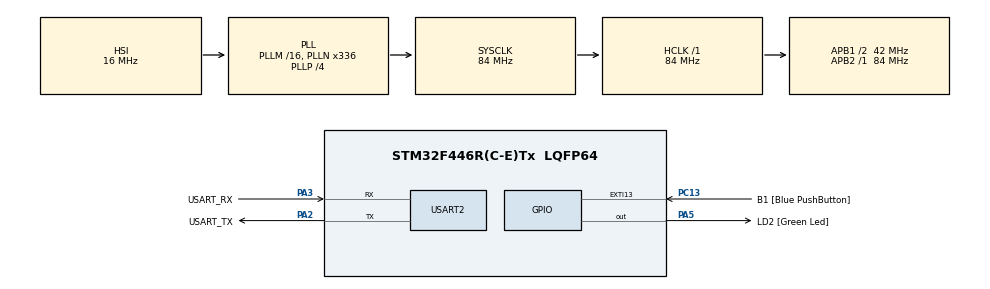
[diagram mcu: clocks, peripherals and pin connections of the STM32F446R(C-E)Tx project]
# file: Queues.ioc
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Mcu.Family=STM32F4
Mcu.Name=STM32F446R(C-E)Tx
Mcu.Package=LQFP64
NVIC.PriorityGroup=NVIC_PRIORITYGROUP_4
NVIC.TIM6_DAC_IRQn=true\:0\:0\:false\:false\:true\:false\:true\:true
NVIC.TimeBase=TIM6_DAC_IRQn
NVIC.TimeBaseIP=TIM6
NVIC.USART2_IRQn=true\:6\:0\:true\:false\:true\:true\:true\:true
PA13.GPIO_Label=TMS
PA13.Signal=SYS_JTMS-SWDIO
PA14.GPIO_Label=TCK
PA14.Signal=SYS_JTCK-SWCLK
PA2.GPIO_Label=USART_TX
PA2.Mode=Asynchronous
PA2.Signal=USART2_TX
PA3.GPIO_Label=USART_RX
PA3.Mode=Asynchronous
PA3.Signal=USART2_RX
PA5.GPIO_Label=LD2 [Green Led]
PA5.Signal=GPIO_Output
PB3.GPIO_Label=SWO
PB3.Signal=SYS_JTDO-SWO
PC13.GPIO_Label=B1 [Blue PushButton]
PC13.GPIO_ModeDefaultEXTI=GPIO_MODE_IT_FALLING
PC13.Signal=GPXTI13
PC14-OSC32_IN.Signal=RCC_OSC32_IN
PC15-OSC32_OUT.Signal=RCC_OSC32_OUT
PH0-OSC_IN.Signal=RCC_OSC_IN
PH1-OSC_OUT.Signal=RCC_OSC_OUT
ProjectManager.HeapSize=0x200
ProjectManager.StackSize=0x400
ProjectManager.TargetToolchain=STM32CubeIDE
RCC.AHBFreq_Value=84000000
RCC.APB1CLKDivider=RCC_HCLK_DIV2
RCC.APB1Freq_Value=42000000
RCC.APB1TimFreq_Value=84000000
RCC.APB2Freq_Value=84000000
RCC.APB2TimFreq_Value=84000000
RCC.CortexFreq_Value=84000000
RCC.FLatency-AdvancedSettings=FLASH_LATENCY_2
RCC.HCLKFreq_Value=84000000
RCC.HSE_VALUE=8000000
RCC.HSI_VALUE=16000000
RCC.LSE_VALUE=32768
RCC.PLLN=336
RCC.PLLP=RCC_PLLP_DIV4
RCC.SYSCLKFreq_VALUE=84000000
RCC.SYSCLKSource=RCC_SYSCLKSOURCE_PLLCLK
RCC.USBFreq_Value=168000000
RCC.VCOOutputFreq_Value=336000000
RTC.HourFormat=RTC_HOURFORMAT_12
USART2.VirtualMode=VM_ASYNC
VP_RTC_VS_RTC_Activate.Mode=RTC_Enabled
VP_SYS_VS_tim6.Mode=TIM6
board=NUCLEO-F446RE

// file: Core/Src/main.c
/* USER CODE BEGIN Header */
/**
  ******************************************************************************
  * @file           : main.c
  * @brief          : Main program body
  ******************************************************************************
  * @attention
  *
  * Copyright (c) 2024 STMicroelectronics.
  * All rights reserved.
  *
  * This software is licensed under terms that can be found in the LICENSE file
  * in the root directory of this software component.
  * If no LICENSE file comes with this software, it is provided AS-IS.
  *
  ******************************************************************************
  */
/* USER CODE END Header */
#include "main.h"

/* USER CODE BEGIN Includes */

//#include "FreeRTOS.h"
//#include "task.h"
//#include "queue.h"
/* USER CODE END Includes */

/* USER CODE BEGIN PM */
#define DWT_CTRL	(*(volatile uint32_t*)0xE0001000)
/* USER CODE END PM */

RTC_HandleTypeDef hrtc;

UART_HandleTypeDef huart2;

/* USER CODE BEGIN PV */
TaskHandle_t menu_task_handle;
TaskHandle_t cmd_task_handle;
TaskHandle_t print_task_handle;
TaskHandle_t led_task_handle;
TaskHandle_t rtc_task_handle;

QueueHandle_t q_data;
QueueHandle_t q_print;

//Software timer handles
TimerHandle_t led_timer_handle[4];
TimerHandle_t rtc_timer;
//state variable
state_t curr_state = sMainMenu;
volatile uint8_t user_data;

/* USER CODE END PV */

/* USER CODE BEGIN PFP */
void SystemClock_Config(void);
static void MX_GPIO_Init(void);
static void MX_RTC_Init(void);
static void MX_USART2_UART_Init(void);

//extern void SEGGER_UART_init(uint32_t);
/* USER CODE END PFP */

int main(void)
{
  /* USER CODE BEGIN 1 */

	BaseType_t status;

  /* USER CODE END 1 */

  /* MCU Configuration--------------------------------------------------------*/

  /* Reset of all peripherals, Initializes the Flash interface and the Systick. */
  HAL_Init();

  /* Configure the system clock */
  SystemClock_Config();

  /* Initialize all configured peripherals */
  MX_GPIO_Init();
  MX_RTC_Init();
  MX_USART2_UART_Init();
  /* USER CODE BEGIN 2 */

  // Enable Cycle Counter CYCCNT. Refer to datasheet of arm-M4 for details. Set the 0th bit to 1
  //DWT_CTRL &= (1<<0);

  //SEGGER_UART_init(250000);

  // Start segger recording:
  //SEGGER_SYSVIEW_Conf();

  //SEGGER_SYSVIEW_Start();		// When using Segger UART, SYSView Start occurs within the init funciton.

  status = xTaskCreate(menu_task_handler, "menu_task", 200, NULL, 2, &menu_task_handle );
  configASSERT(status == pdPASS);

  status = xTaskCreate(cmd_task_handler, "cmd_task", 200, NULL, 2, &cmd_task_handle );
  configASSERT(status == pdPASS);

  status = xTaskCreate(print_task_handler, "print_task", 200, NULL, 2, &print_task_handle);
  configASSERT(status == pdPASS);

  status = xTaskCreate(led_task_handler, "led_task", 200, NULL,2, &led_task_handle);
  configASSERT(status == pdPASS);

  status = xTaskCreate(rtc_task_handler, "rtc_task", 200, NULL,2, &rtc_task_handle);
  configASSERT(status == pdPASS);

  //  Queue Creation

  q_data =xQueueCreate(10, sizeof(char));
  configASSERT(q_data != NULL);	//Check if queue was created

  q_print = xQueueCreate(10, sizeof(size_t));
  configASSERT(q_print != NULL);

  /* Create software timer for LED effects */

  for(int i = 0; i < 4; i++){
	  led_timer_handle[i] = xTimerCreate("led_timer", pdMS_TO_TICKS(500), pdTRUE, (void *)(i+1), fn_led_effect_callback);
  }

  // Enable uart receive interrupt
  HAL_UART_Receive_IT(&huart2, (uint8_t*) &user_data, 1);

  // start FreeRTOS scheduler
  vTaskStartScheduler();
  // if the control comes here, scheduler launch had failed due to insufficient memory (heap)

  /* USER CODE END 2 */

  /* Infinite loop */
  while (1)
  {

  }
}

void SystemClock_Config(void)
{
  RCC_OscInitTypeDef RCC_OscInitStruct = {0};
  RCC_ClkInitTypeDef RCC_ClkInitStruct = {0};

  /** Configure the main internal regulator output voltage
  */
  __HAL_RCC_PWR_CLK_ENABLE();
  __HAL_PWR_VOLTAGESCALING_CONFIG(PWR_REGULATOR_VOLTAGE_SCALE3);

  /** Initializes the RCC Oscillators according to the specified parameters
  * in the RCC_OscInitTypeDef structure.
  */
  RCC_OscInitStruct.OscillatorType = RCC_OSCILLATORTYPE_HSI|RCC_OSCILLATORTYPE_LSI;
  RCC_OscInitStruct.LSEState = RCC_LSE_OFF;
  RCC_OscInitStruct.HSIState = RCC_HSI_ON;
  RCC_OscInitStruct.HSICalibrationValue = RCC_HSICALIBRATION_DEFAULT;
  RCC_OscInitStruct.LSIState = RCC_LSI_ON;
  RCC_OscInitStruct.PLL.PLLState = RCC_PLL_ON;
  RCC_OscInitStruct.PLL.PLLSource = RCC_PLLSOURCE_HSI;
  RCC_OscInitStruct.PLL.PLLM = 16;
  RCC_OscInitStruct.PLL.PLLN = 336;
  RCC_OscInitStruct.PLL.PLLP = RCC_PLLP_DIV4;
  RCC_OscInitStruct.PLL.PLLQ = 2;
  RCC_OscInitStruct.PLL.PLLR = 2;
  if (HAL_RCC_OscConfig(&RCC_OscInitStruct) != HAL_OK)
  {
    Error_Handler();
  }

  /** Initializes the CPU, AHB and APB buses clocks
  */
  RCC_ClkInitStruct.ClockType = RCC_CLOCKTYPE_HCLK|RCC_CLOCKTYPE_SYSCLK
                              |RCC_CLOCKTYPE_PCLK1|RCC_CLOCKTYPE_PCLK2;
  RCC_ClkInitStruct.SYSCLKSource = RCC_SYSCLKSOURCE_PLLCLK;
  RCC_ClkInitStruct.AHBCLKDivider = RCC_SYSCLK_DIV1;
  RCC_ClkInitStruct.APB1CLKDivider = RCC_HCLK_DIV2;
  RCC_ClkInitStruct.APB2CLKDivider = RCC_HCLK_DIV1;

  if (HAL_RCC_ClockConfig(&RCC_ClkInitStruct, FLASH_LATENCY_2) != HAL_OK)
  {
    Error_Handler();
  }
}

static void MX_RTC_Init(void)
{

  /** Initialize RTC Only
  */
  hrtc.Instance = RTC;
  hrtc.Init.HourFormat = RTC_HOURFORMAT_12;
  hrtc.Init.AsynchPrediv = 127;
  hrtc.Init.SynchPrediv = 255;
  hrtc.Init.OutPut = RTC_OUTPUT_DISABLE;
  hrtc.Init.OutPutPolarity = RTC_OUTPUT_POLARITY_HIGH;
  hrtc.Init.OutPutType = RTC_OUTPUT_TYPE_OPENDRAIN;
  if (HAL_RTC_Init(&hrtc) != HAL_OK)
  {
    Error_Handler();
  }

}

static void MX_USART2_UART_Init(void)
{

  huart2.Instance = USART2;
  huart2.Init.BaudRate = 115200;
  huart2.Init.WordLength = UART_WORDLENGTH_8B;
  huart2.Init.StopBits = UART_STOPBITS_1;
  huart2.Init.Parity = UART_PARITY_NONE;
  huart2.Init.Mode = UART_MODE_TX_RX;
  huart2.Init.HwFlowCtl = UART_HWCONTROL_NONE;
  huart2.Init.OverSampling = UART_OVERSAMPLING_16;
  if (HAL_UART_Init(&huart2) != HAL_OK)
  {
    Error_Handler();
  }

}

static void MX_GPIO_Init(void)
{
  GPIO_InitTypeDef GPIO_InitStruct = {0};

  /* GPIO Ports Clock Enable */
  __HAL_RCC_GPIOC_CLK_ENABLE();
  __HAL_RCC_GPIOH_CLK_ENABLE();
  __HAL_RCC_GPIOA_CLK_ENABLE();
  __HAL_RCC_GPIOB_CLK_ENABLE();

  /*Configure GPIO pin Output Level */
  HAL_GPIO_WritePin(LD2_GPIO_Port, LD2_Pin, GPIO_PIN_RESET);

  /*Configure GPIO pin : B1_Pin */
  GPIO_InitStruct.Pin = B1_Pin;
  GPIO_InitStruct.Mode = GPIO_MODE_IT_FALLING;
  GPIO_InitStruct.Pull = GPIO_NOPULL;
  HAL_GPIO_Init(B1_GPIO_Port, &GPIO_InitStruct);

  /*Configure GPIO pin : LD2_Pin */
  GPIO_InitStruct.Pin = LD2_Pin;
  GPIO_InitStruct.Mode = GPIO_MODE_OUTPUT_PP;
  GPIO_InitStruct.Pull = GPIO_NOPULL;
  GPIO_InitStruct.Speed = GPIO_SPEED_FREQ_LOW;
  HAL_GPIO_Init(LD2_GPIO_Port, &GPIO_InitStruct);

}

/* USER CODE BEGIN 4 */
void HAL_UART_RxCpltCallback(UART_HandleTypeDef *huart)
{
	uint8_t dummy;
	if(!xQueueIsQueueFullFromISR(q_data))
	{
		/*Queue is not full */

		/*TODO: Enqueue data byte */
		xQueueSendToBackFromISR( q_data, (void*)&user_data, NULL);

	}else{
		/*Queue is full */
		//check, is user_data '\n'? */
		if(user_data == '\n' )
		{
			/*user_data = '\n' */

			/*TODO: make sure that last data byte of the queue is '\n' */
			xQueueReceiveFromISR(q_data,(void*)&dummy,NULL);	// Delete the last element on the queue to make space for \n
			xQueueSendFromISR(q_data,(void*)&user_data,NULL);
		}
	}

	if(user_data == '\n'){
		/*send notification to command handling task if user_data = '\n' */
		xTaskNotifyFromISR(cmd_task_handle, 0, eNoAction, NULL);

	}

	/* Enable UART data byte reception again in IT mode */
	 HAL_UART_Receive_IT(&huart2, (uint8_t*)&user_data, 1);
}

void fn_led_effect_callback(TimerHandle_t xTimer){
	int id;
	id = (uint32_t)pvTimerGetTimerID(xTimer);

	switch(id){
	case 1:
		LED_effect1();
		break;
	case 2:
		LED_effect2();
		break;
	case 3:
		LED_effect3();
		break;
	case 4:
		LED_effect4();
		break;
	}

}

/* USER CODE END 4 */

void HAL_TIM_PeriodElapsedCallback(TIM_HandleTypeDef *htim)
{
  if (htim->Instance == TIM6) {
    HAL_IncTick();
  }
}

void Error_Handler(void)
{
  __disable_irq();
  while (1)
  {
  }
}
